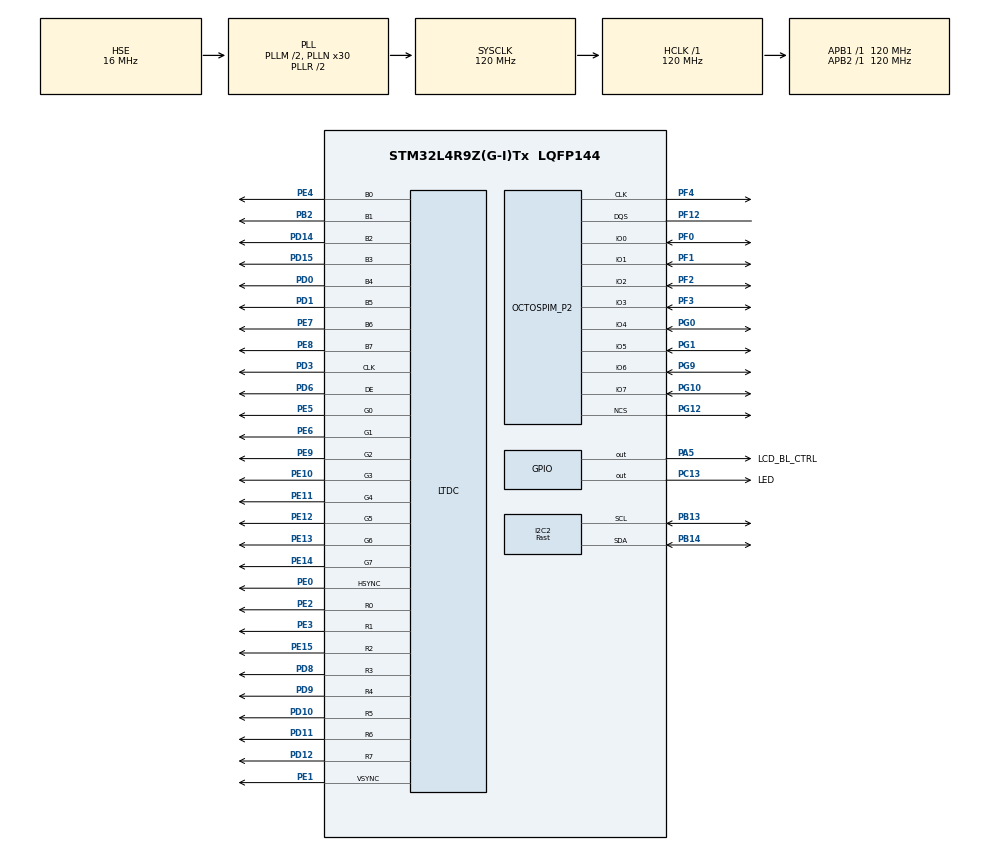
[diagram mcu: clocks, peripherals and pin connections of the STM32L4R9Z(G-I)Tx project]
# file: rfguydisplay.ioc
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Mcu.Family=STM32L4
PF4.Mode=O1_P2_CLK
VP_OCTOSPI1_VS_octo.Mode=hyperbus_mode
PE14.GPIO_Speed=GPIO_SPEED_FREQ_VERY_HIGH
RCC.CortexFreq_Value=120000000
PH0-OSC_IN\ (PH0).Signal=RCC_OSC_IN
LTDC.HBP=88
PD15.GPIO_Speed=GPIO_SPEED_FREQ_VERY_HIGH
PG0.Signal=OCTOSPIM_P2_IO4
PB2.GPIO_Speed=GPIO_SPEED_FREQ_VERY_HIGH
I2C2.Timing=0x00B03FDB
PF2.Mode=OCTOSPI1_IOL_Port2L
PE2.GPIO_Speed=GPIO_SPEED_FREQ_VERY_HIGH
PD9.GPIO_Speed=GPIO_SPEED_FREQ_VERY_HIGH
PE9.GPIO_Speed=GPIO_SPEED_FREQ_VERY_HIGH
PC13.GPIO_Label=LED
PB13.Signal=I2C2_SCL
PD3.GPIO_Speed=GPIO_SPEED_FREQ_VERY_HIGH
LTDC.PCPolarity=LTDC_PCPOLARITY_IPC
PD9.Mode=RGB888
LTDC.Red=50
RCC.SYSCLKSource=RCC_SYSCLKSOURCE_PLLCLK
ProjectManager.StackSize=0x400
PD14.GPIO_Speed=GPIO_SPEED_FREQ_VERY_HIGH
PA14\ (JTCK/SWCLK).Signal=SYS_JTCK-SWCLK
OCTOSPI1.ClockPrescaler=3
PE11.Mode=RGB888
LTDC.Blue=0
RCC.HCLKFreq_Value=120000000
PE2.Mode=RGB888
I2C2.I2C_Speed_Mode=I2C_Fast
RCC.APB2TimFreq_Value=120000000
LTDC.WindowX1_L0=800
PF12.Signal=OCTOSPIM_P2_DQS
PD10.Mode=RGB888
I2C2.CustomTiming=Disabled
PD0.Signal=LTDC_B4
PD8.Signal=LTDC_R3
PE5.Signal=LTDC_G0
PE1.Signal=LTDC_VSYNC
RCC.AHBFreq_Value=120000000
PH1-OSC_OUT\ (PH1).Mode=HSE-External-Oscillator
RCC.HSE_VALUE=16000000
PB2.Signal=LTDC_B1
LTDC.VBP=32
LTDC.PixelFormat_L0=LTDC_PIXEL_FORMAT_L8
PE13.Signal=LTDC_G6
OCTOSPI1.LatencyMode=HAL_OSPI_FIXED_LATENCY
PE9.Signal=LTDC_G2
PD1.GPIO_Speed=GPIO_SPEED_FREQ_VERY_HIGH
PE4.GPIO_Speed=GPIO_SPEED_FREQ_VERY_HIGH
PG1.Mode=OCTOSPI1_IOH_Port2H
PD14.Mode=RGB888
PB14.Mode=I2C
RCC.PLLSAI2R=RCC_PLLR_DIV4
LTDC.Red_L0=0
RCC.PLLSAI2N=40
LTDC.HFP=39
PE2.Signal=LTDC_R0
PA14\ (JTCK/SWCLK).Mode=Serial_Wire
PE13.Mode=RGB888
PE4.Mode=RGB888
PF3.Signal=OCTOSPIM_P2_IO3
PE10.GPIO_Speed=GPIO_SPEED_FREQ_VERY_HIGH
PD10.GPIO_Speed=GPIO_SPEED_FREQ_VERY_HIGH
PD3.Mode=RGB888
LTDC.ActiveW=800
PE4.Signal=LTDC_B0
PE10.Signal=LTDC_G3
LTDC.HSync=2
PD15.Mode=RGB888
Mcu.Package=LQFP144
PD12.Signal=LTDC_R7
LTDC.Green=127
PE9.Mode=RGB888
PE12.GPIO_Speed=GPIO_SPEED_FREQ_VERY_HIGH
PE8.GPIO_Speed=GPIO_SPEED_FREQ_VERY_HIGH
LTDC.VSync=4
RCC.APB1TimFreq_Value=120000000
PF0.Signal=OCTOSPIM_P2_IO0
PB13.Mode=I2C
PE7.Signal=LTDC_B6
PD6.Signal=LTDC_DE
OCTOSPI1.RWRecoveryTime=3
PE6.GPIO_Speed=GPIO_SPEED_FREQ_VERY_HIGH
PH0-OSC_IN\ (PH0).Mode=HSE-External-Oscillator
PE3.Mode=RGB888
PD15.Signal=LTDC_B3
RCC.HSI48_VALUE=48000000
PG12.Signal=OCTOSPIM_P2_NCS
PE12.Mode=RGB888
RCC.MSI_VALUE=4000000
RCC.PLLSourceVirtual=RCC_PLLSOURCE_HSE
LTDC.FBStartAdress_L0=(uint32_t)framebuffer
LTDC.VFP=13
PD12.GPIO_Speed=GPIO_SPEED_FREQ_VERY_HIGH
LTDC.WindowY1_L0=480
PF3.Mode=OCTOSPI1_IOL_Port2L
PA13\ (JTMS/SWDIO).Mode=Serial_Wire
PE11.GPIO_Speed=GPIO_SPEED_FREQ_VERY_HIGH
PG1.Signal=OCTOSPIM_P2_IO5
PG9.Signal=OCTOSPIM_P2_IO6
PC13.Signal=GPIO_Output
PD3.Signal=LTDC_CLK
PE1.Mode=RGB888
PG9.Mode=OCTOSPI1_IOH_Port2H
PE10.Mode=RGB888
PG10.Mode=OCTOSPI1_IOH_Port2H
PD1.Signal=LTDC_B5
PD9.Signal=LTDC_R4
PD6.Mode=RGB888
PH1-OSC_OUT\ (PH1).Signal=RCC_OSC_OUT
PD0.GPIO_Speed=GPIO_SPEED_FREQ_VERY_HIGH
PG10.Signal=OCTOSPIM_P2_IO7
LTDC.ImageWidth_L0=800
PE8.Mode=RGB888
PE0.GPIO_Speed=GPIO_SPEED_FREQ_VERY_HIGH
PD10.Signal=LTDC_R5
PF1.Mode=OCTOSPI1_IOL_Port2L
ProjectManager.TargetToolchain=Makefile
I2C2.Analog_Filter=I2C_ANALOGFILTER_ENABLE
PD11.GPIO_Speed=GPIO_SPEED_FREQ_VERY_HIGH
PF2.Signal=OCTOSPIM_P2_IO2
RCC.USBFreq_Value=64000000
PE11.Signal=LTDC_G4
RCC.LSE_VALUE=32768
PD8.Mode=RGB888
PB14.Signal=I2C2_SDA
PA5.Signal=GPIO_Output
OCTOSPI1.DelayHoldQuarterCycle=HAL_OSPI_DHQC_ENABLE
board=custom
PG12.Mode=OCTOSPI1_Port2_NCS
OCTOSPI1.AccessTime=6
RCC.VCOOutputFreq_Value=240000000
PD1.Mode=RGB888
PE7.GPIO_Speed=GPIO_SPEED_FREQ_VERY_HIGH
RCC.APB2Freq_Value=120000000
PE14.Signal=LTDC_G7
PE6.Mode=RGB888
PE15.Signal=LTDC_R2
LTDC.Layers=0
PE8.Signal=LTDC_B7
PE14.Mode=RGB888
PE1.GPIO_Speed=GPIO_SPEED_FREQ_VERY_HIGH
PE5.Mode=RGB888
RCC.ADCFreq_Value=64000000
PF1.Signal=OCTOSPIM_P2_IO1
PE6.Signal=LTDC_G1
Mcu.Name=STM32L4R9Z(G-I)Tx
PE0.Signal=LTDC_HSYNC
PD0.Mode=RGB888
OCTOSPI1.FifoThreshold=4
PE12.Signal=LTDC_G5
PG0.Mode=OCTOSPI1_IOH_Port2H
PD14.Signal=LTDC_B2
RCC.SYSCLKFreq_VALUE=120000000
PE7.Mode=RGB888
RCC.PLLM1=2
PF12.Mode=OCTOSPI1_Port2_DQS
PD12.Mode=RGB888
RCC.PLLM3=2
PA5.GPIO_Label=LCD_BL_CTRL
PE3.GPIO_Speed=GPIO_SPEED_FREQ_VERY_HIGH
PD11.Signal=LTDC_R6
PB2.Mode=RGB888
LTDC.Alpha_L0=255
LTDC.Green_L0=0
ProjectManager.HeapSize=0x200
PF0.Mode=OCTOSPI1_IOL_Port2L
PD11.Mode=RGB888
LTDC.DEPolarity=LTDC_DEPOLARITY_AL
RCC.HSI_VALUE=16000000
PD8.GPIO_Speed=GPIO_SPEED_FREQ_VERY_HIGH
OCTOSPI1.DelayBlockBypass=HAL_OSPI_DELAY_BLOCK_USED
NVIC.PriorityGroup=NVIC_PRIORITYGROUP_4
PE15.GPIO_Speed=GPIO_SPEED_FREQ_VERY_HIGH
RCC.PLLN=30
PE13.GPIO_Speed=GPIO_SPEED_FREQ_VERY_HIGH
PE5.GPIO_Speed=GPIO_SPEED_FREQ_VERY_HIGH
PE3.Signal=LTDC_R1
PF4.Signal=OCTOSPIM_P2_CLK
RCC.APB1Freq_Value=120000000
PD6.GPIO_Speed=GPIO_SPEED_FREQ_VERY_HIGH
LTDC.ImageHeight_L0=480
PE0.Mode=RGB888
PA13\ (JTMS/SWDIO).Signal=SYS_JTMS-SWDIO
PE15.Mode=RGB888

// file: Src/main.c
/* USER CODE BEGIN Header */
/**
  ******************************************************************************
  * @file           : main.c
  * @brief          : Main program body
  ******************************************************************************
  * @attention
  *
  * <h2><center>&copy; Copyright (c) 2020 STMicroelectronics.
  * All rights reserved.</center></h2>
  *
  * This software component is licensed by ST under BSD 3-Clause license,
  * the "License"; You may not use this file except in compliance with the
  * License. You may obtain a copy of the License at:
  *                        opensource.org/licenses/BSD-3-Clause
  *
  ******************************************************************************
  */
/* USER CODE END Header */
#include "main.h"

/* USER CODE BEGIN Includes */
#include "lvgl.h"
#include "tft.h"
#include "touch.h"
#include "clut.h"
#include "ui.h"
/* USER CODE END Includes */

I2C_HandleTypeDef hi2c2;

LTDC_HandleTypeDef hltdc;

OSPI_HandleTypeDef hospi1;

void SystemClock_Config(void);
static void MX_GPIO_Init(void);
static void MX_LTDC_Init(void);
static void MX_I2C2_Init(void);
static void MX_OCTOSPI1_Init(void);

/* USER CODE BEGIN 0 */
volatile uint8_t framebuffer[LV_HOR_RES_MAX*LV_VER_RES_MAX] __attribute__ ((section (".sram3")));
//volatile uint8_t framebuffer[LV_HOR_RES_MAX*LV_VER_RES_MAX] __attribute__ ((section (".qspiram")));
/* USER CODE END 0 */

int main(void)
{

  /* MCU Configuration--------------------------------------------------------*/

  /* Reset of all peripherals, Initializes the Flash interface and the Systick. */
  HAL_Init();

  /* Configure the system clock */
  SystemClock_Config();

  /* Initialize all configured peripherals */
  MX_GPIO_Init();
  MX_LTDC_Init();
  MX_I2C2_Init();
  MX_OCTOSPI1_Init();
  /* USER CODE BEGIN 2 */
  HAL_GPIO_WritePin(LCD_BL_CTRL_GPIO_Port,LCD_BL_CTRL_Pin,GPIO_PIN_SET);

  lv_init();
  tft_init();
  touch_init();
  ui_init();
  /* USER CODE END 2 */

  /* Infinite loop */
  /* USER CODE BEGIN WHILE */

  while (1)
  {
    lv_task_handler();
    HAL_Delay(10);
    /* USER CODE END WHILE */

  }
}

void SystemClock_Config(void)
{
  RCC_OscInitTypeDef RCC_OscInitStruct = {0};
  RCC_ClkInitTypeDef RCC_ClkInitStruct = {0};
  RCC_PeriphCLKInitTypeDef PeriphClkInit = {0};

  /** Configure the main internal regulator output voltage
  */
  if (HAL_PWREx_ControlVoltageScaling(PWR_REGULATOR_VOLTAGE_SCALE1_BOOST) != HAL_OK)
  {
    Error_Handler();
  }
  /** Initializes the RCC Oscillators according to the specified parameters
  * in the RCC_OscInitTypeDef structure.
  */
  RCC_OscInitStruct.OscillatorType = RCC_OSCILLATORTYPE_HSE;
  RCC_OscInitStruct.HSEState = RCC_HSE_ON;
  RCC_OscInitStruct.PLL.PLLState = RCC_PLL_ON;
  RCC_OscInitStruct.PLL.PLLSource = RCC_PLLSOURCE_HSE;
  RCC_OscInitStruct.PLL.PLLM = 2;
  RCC_OscInitStruct.PLL.PLLN = 30;
  RCC_OscInitStruct.PLL.PLLP = RCC_PLLP_DIV2;
  RCC_OscInitStruct.PLL.PLLQ = RCC_PLLQ_DIV2;
  RCC_OscInitStruct.PLL.PLLR = RCC_PLLR_DIV2;
  if (HAL_RCC_OscConfig(&RCC_OscInitStruct) != HAL_OK)
  {
    Error_Handler();
  }
  /** Initializes the CPU, AHB and APB buses clocks
  */
  RCC_ClkInitStruct.ClockType = RCC_CLOCKTYPE_HCLK|RCC_CLOCKTYPE_SYSCLK
                              |RCC_CLOCKTYPE_PCLK1|RCC_CLOCKTYPE_PCLK2;
  RCC_ClkInitStruct.SYSCLKSource = RCC_SYSCLKSOURCE_PLLCLK;
  RCC_ClkInitStruct.AHBCLKDivider = RCC_SYSCLK_DIV1;
  RCC_ClkInitStruct.APB1CLKDivider = RCC_HCLK_DIV1;
  RCC_ClkInitStruct.APB2CLKDivider = RCC_HCLK_DIV1;

  if (HAL_RCC_ClockConfig(&RCC_ClkInitStruct, FLASH_LATENCY_5) != HAL_OK)
  {
    Error_Handler();
  }
  PeriphClkInit.PeriphClockSelection = RCC_PERIPHCLK_I2C2|RCC_PERIPHCLK_OSPI
                              |RCC_PERIPHCLK_LTDC;
  PeriphClkInit.I2c2ClockSelection = RCC_I2C2CLKSOURCE_PCLK1;
  PeriphClkInit.OspiClockSelection = RCC_OSPICLKSOURCE_SYSCLK;
  PeriphClkInit.LtdcClockSelection = RCC_LTDCCLKSOURCE_PLLSAI2_DIV2;
  PeriphClkInit.PLLSAI2.PLLSAI2Source = RCC_PLLSOURCE_HSE;
  PeriphClkInit.PLLSAI2.PLLSAI2M = 2;
  PeriphClkInit.PLLSAI2.PLLSAI2N = 40;
  PeriphClkInit.PLLSAI2.PLLSAI2P = RCC_PLLP_DIV2;
  PeriphClkInit.PLLSAI2.PLLSAI2R = RCC_PLLR_DIV4;
  PeriphClkInit.PLLSAI2.PLLSAI2Q = RCC_PLLQ_DIV2;
  PeriphClkInit.PLLSAI2.PLLSAI2ClockOut = RCC_PLLSAI2_LTDCCLK;
  if (HAL_RCCEx_PeriphCLKConfig(&PeriphClkInit) != HAL_OK)
  {
    Error_Handler();
  }
}

static void MX_I2C2_Init(void)
{

  hi2c2.Instance = I2C2;
  hi2c2.Init.Timing = 0x00B03FDB;
  hi2c2.Init.OwnAddress1 = 0;
  hi2c2.Init.AddressingMode = I2C_ADDRESSINGMODE_7BIT;
  hi2c2.Init.DualAddressMode = I2C_DUALADDRESS_DISABLE;
  hi2c2.Init.OwnAddress2 = 0;
  hi2c2.Init.OwnAddress2Masks = I2C_OA2_NOMASK;
  hi2c2.Init.GeneralCallMode = I2C_GENERALCALL_DISABLE;
  hi2c2.Init.NoStretchMode = I2C_NOSTRETCH_DISABLE;
  if (HAL_I2C_Init(&hi2c2) != HAL_OK)
  {
    Error_Handler();
  }
  /** Configure Analogue filter
  */
  if (HAL_I2CEx_ConfigAnalogFilter(&hi2c2, I2C_ANALOGFILTER_ENABLE) != HAL_OK)
  {
    Error_Handler();
  }
  /** Configure Digital filter
  */
  if (HAL_I2CEx_ConfigDigitalFilter(&hi2c2, 0) != HAL_OK)
  {
    Error_Handler();
  }

}

static void MX_LTDC_Init(void)
{

  LTDC_LayerCfgTypeDef pLayerCfg = {0};

  hltdc.Instance = LTDC;
  hltdc.Init.HSPolarity = LTDC_HSPOLARITY_AL;
  hltdc.Init.VSPolarity = LTDC_VSPOLARITY_AL;
  hltdc.Init.DEPolarity = LTDC_DEPOLARITY_AL;
  hltdc.Init.PCPolarity = LTDC_PCPOLARITY_IPC;
  hltdc.Init.HorizontalSync = 1;
  hltdc.Init.VerticalSync = 3;
  hltdc.Init.AccumulatedHBP = 89;
  hltdc.Init.AccumulatedVBP = 35;
  hltdc.Init.AccumulatedActiveW = 889;
  hltdc.Init.AccumulatedActiveH = 515;
  hltdc.Init.TotalWidth = 928;
  hltdc.Init.TotalHeigh = 528;
  hltdc.Init.Backcolor.Blue = 0;
  hltdc.Init.Backcolor.Green = 127;
  hltdc.Init.Backcolor.Red = 50;
  if (HAL_LTDC_Init(&hltdc) != HAL_OK)
  {
    Error_Handler();
  }
  pLayerCfg.WindowX0 = 0;
  pLayerCfg.WindowX1 = 800;
  pLayerCfg.WindowY0 = 0;
  pLayerCfg.WindowY1 = 480;
  pLayerCfg.PixelFormat = LTDC_PIXEL_FORMAT_L8;
  pLayerCfg.Alpha = 255;
  pLayerCfg.Alpha0 = 0;
  pLayerCfg.BlendingFactor1 = LTDC_BLENDING_FACTOR1_CA;
  pLayerCfg.BlendingFactor2 = LTDC_BLENDING_FACTOR2_CA;
  pLayerCfg.FBStartAdress = (uint32_t)framebuffer;
  pLayerCfg.ImageWidth = 800;
  pLayerCfg.ImageHeight = 480;
  pLayerCfg.Backcolor.Blue = 0;
  pLayerCfg.Backcolor.Green = 0;
  pLayerCfg.Backcolor.Red = 0;
  if (HAL_LTDC_ConfigLayer(&hltdc, &pLayerCfg, 0) != HAL_OK)
  {
    Error_Handler();
  }
  /* USER CODE BEGIN LTDC_Init 2 */

  HAL_LTDC_ConfigCLUT(&hltdc,(uint32_t*)clut_table,CLUT_TABLE_SIZE,LTDC_LAYER_1);
  HAL_LTDC_EnableCLUT(&hltdc,LTDC_LAYER_1);
  /* USER CODE END LTDC_Init 2 */

}

static void MX_OCTOSPI1_Init(void)
{

  OSPIM_CfgTypeDef OSPIM_Cfg_Struct = {0};
  OSPI_HyperbusCfgTypeDef sHyperBusCfg = {0};

  /* OCTOSPI1 parameter configuration*/
  hospi1.Instance = OCTOSPI1;
  hospi1.Init.FifoThreshold = 4;
  hospi1.Init.DualQuad = HAL_OSPI_DUALQUAD_DISABLE;
  hospi1.Init.MemoryType = HAL_OSPI_MEMTYPE_HYPERBUS;
  hospi1.Init.DeviceSize = 32;
  hospi1.Init.ChipSelectHighTime = 1;
  hospi1.Init.FreeRunningClock = HAL_OSPI_FREERUNCLK_DISABLE;
  hospi1.Init.ClockMode = HAL_OSPI_CLOCK_MODE_0;
  hospi1.Init.ClockPrescaler = 3;
  hospi1.Init.SampleShifting = HAL_OSPI_SAMPLE_SHIFTING_NONE;
  hospi1.Init.DelayHoldQuarterCycle = HAL_OSPI_DHQC_ENABLE;
  hospi1.Init.ChipSelectBoundary = 0;
  hospi1.Init.DelayBlockBypass = HAL_OSPI_DELAY_BLOCK_USED;
  if (HAL_OSPI_Init(&hospi1) != HAL_OK)
  {
    Error_Handler();
  }
  OSPIM_Cfg_Struct.ClkPort = 2;
  OSPIM_Cfg_Struct.DQSPort = 2;
  OSPIM_Cfg_Struct.NCSPort = 2;
  OSPIM_Cfg_Struct.IOLowPort = HAL_OSPIM_IOPORT_2_LOW;
  OSPIM_Cfg_Struct.IOHighPort = HAL_OSPIM_IOPORT_2_HIGH;
  if (HAL_OSPIM_Config(&hospi1, &OSPIM_Cfg_Struct, HAL_OSPI_TIMEOUT_DEFAULT_VALUE) != HAL_OK)
  {
    Error_Handler();
  }
  sHyperBusCfg.RWRecoveryTime = 3;
  sHyperBusCfg.AccessTime = 6;
  sHyperBusCfg.WriteZeroLatency = HAL_OSPI_LATENCY_ON_WRITE;
  sHyperBusCfg.LatencyMode = HAL_OSPI_FIXED_LATENCY;
  if (HAL_OSPI_HyperbusCfg(&hospi1, &sHyperBusCfg, HAL_OSPI_TIMEOUT_DEFAULT_VALUE) != HAL_OK)
  {
    Error_Handler();
  }
  /* USER CODE BEGIN OCTOSPI1_Init 2 */
  /* Memory-mapped mode configuration --------------------------------------- */
  OSPI_HyperbusCmdTypeDef sCommand;
  OSPI_MemoryMappedTypeDef sMemMappedCfg;
  sCommand.AddressSpace = HAL_OSPI_MEMORY_ADDRESS_SPACE;
  sCommand.AddressSize  = HAL_OSPI_ADDRESS_32_BITS;
  sCommand.DQSMode      = HAL_OSPI_DQS_ENABLE;
  sCommand.Address      = 0;
  sCommand.NbData       = 1;

  if (HAL_OSPI_HyperbusCmd(&hospi1, &sCommand, HAL_OSPI_TIMEOUT_DEFAULT_VALUE) != HAL_OK)
  {
    Error_Handler();
  }

  sMemMappedCfg.TimeOutActivation = HAL_OSPI_TIMEOUT_COUNTER_DISABLE;

  if (HAL_OSPI_MemoryMapped(&hospi1, &sMemMappedCfg) != HAL_OK)
  {
    Error_Handler();
  }
  /* USER CODE END OCTOSPI1_Init 2 */

}

static void MX_GPIO_Init(void)
{
  GPIO_InitTypeDef GPIO_InitStruct = {0};

  /* GPIO Ports Clock Enable */
  __HAL_RCC_GPIOE_CLK_ENABLE();
  __HAL_RCC_GPIOC_CLK_ENABLE();
  __HAL_RCC_GPIOF_CLK_ENABLE();
  __HAL_RCC_GPIOH_CLK_ENABLE();
  __HAL_RCC_GPIOA_CLK_ENABLE();
  __HAL_RCC_GPIOB_CLK_ENABLE();
  __HAL_RCC_GPIOG_CLK_ENABLE();
  __HAL_RCC_GPIOD_CLK_ENABLE();
  HAL_PWREx_EnableVddIO2();

  /*Configure GPIO pin Output Level */
  HAL_GPIO_WritePin(LED_GPIO_Port, LED_Pin, GPIO_PIN_RESET);

  /*Configure GPIO pin Output Level */
  HAL_GPIO_WritePin(LCD_BL_CTRL_GPIO_Port, LCD_BL_CTRL_Pin, GPIO_PIN_RESET);

  /*Configure GPIO pin : LED_Pin */
  GPIO_InitStruct.Pin = LED_Pin;
  GPIO_InitStruct.Mode = GPIO_MODE_OUTPUT_PP;
  GPIO_InitStruct.Pull = GPIO_NOPULL;
  GPIO_InitStruct.Speed = GPIO_SPEED_FREQ_LOW;
  HAL_GPIO_Init(LED_GPIO_Port, &GPIO_InitStruct);

  /*Configure GPIO pin : LCD_BL_CTRL_Pin */
  GPIO_InitStruct.Pin = LCD_BL_CTRL_Pin;
  GPIO_InitStruct.Mode = GPIO_MODE_OUTPUT_PP;
  GPIO_InitStruct.Pull = GPIO_NOPULL;
  GPIO_InitStruct.Speed = GPIO_SPEED_FREQ_LOW;
  HAL_GPIO_Init(LCD_BL_CTRL_GPIO_Port, &GPIO_InitStruct);

}

void Error_Handler(void)
{
}

/************************ (C) COPYRIGHT STMicroelectronics *****END OF FILE****/
